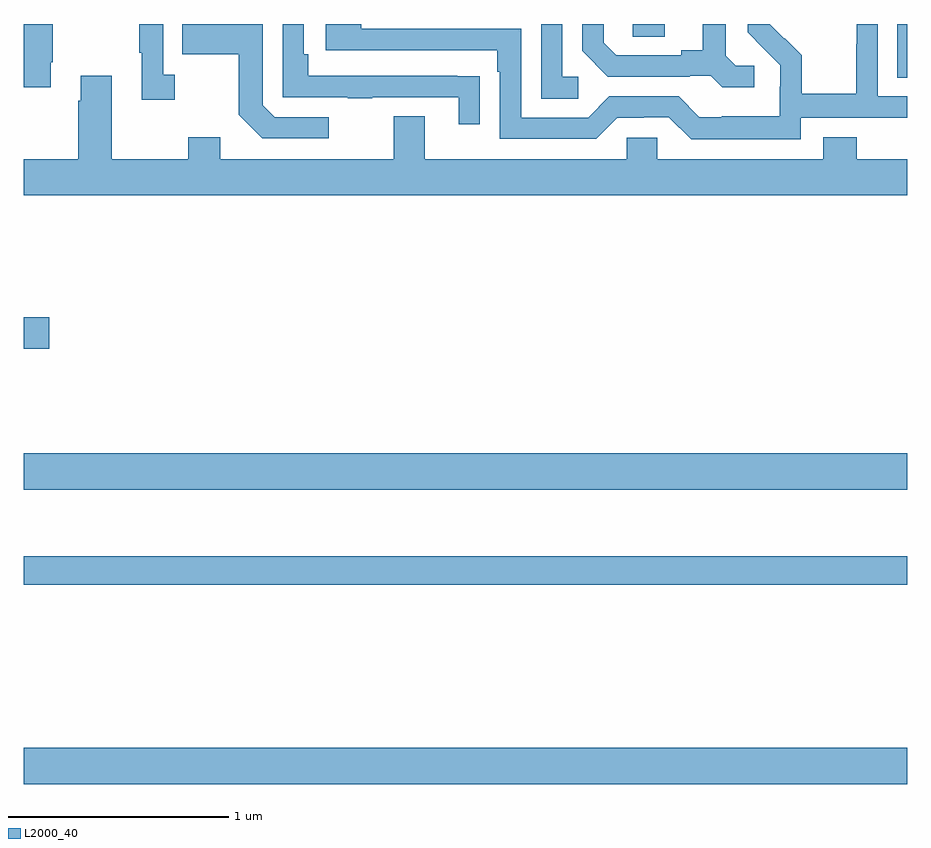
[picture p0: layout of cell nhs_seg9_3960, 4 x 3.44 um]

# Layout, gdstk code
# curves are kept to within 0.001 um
import gdstk
lib = gdstk.Library(unit=1e-6, precision=1e-09)
def R(c, l, rs):  # rectangles x0, y0, x1, y1
    for r in rs: c.add(gdstk.rectangle(r[:2], r[2:], *l))
def P(c, l, *ps):  # polygons
    for p in ps: c.add(gdstk.Polygon(p, *l))
L2000_40 = (2000, 40)

nhs_seg9_3960 = lib.new_cell('nhs_seg9_3960')
R(nhs_seg9_3960, L2000_40, [(337,1223.06,341,1223.224), (337,1223.962,341,1224.091), (337,1224.392,341,1224.556), (337,1225.03,337.117,1225.172), (340.955,1226.257,341,1226.5), (339.756,1226.443,339.901,1226.5)])
P(nhs_seg9_3960, L2000_40, [(337.684,1226.27),(337.632,1226.27),(337.632,1226.5),(337.524,1226.5),(337.524,1226.369),(337.535,1226.369),(337.535,1226.157),(337.684,1226.157)],
  [(337.123,1226.326),(337.131,1226.326),(337.131,1226.5),(337,1226.5),(337,1226.214),(337.123,1226.214)],
  [(340.518,1226.076),(341,1226.076),(341,1226.172),(340.866,1226.172),(340.866,1226.5),(340.77,1226.5),(340.77,1226.408),(340.768,1226.408),(340.768,1226.185),(340.523,1226.185),(340.523,1226.359),(340.446,1226.436),(340.443,1226.433),(340.377,1226.5),(340.278,1226.5),(340.278,1226.462),(340.424,1226.314),(340.424,1226.217),(340.422,1226.217),(340.422,1226.083),(340.159,1226.083),(340.159,1226.079),(340.059,1226.079),(339.966,1226.172),(339.651,1226.172),(339.555,1226.076),(339.252,1226.076),(339.252,1226.478),(338.528,1226.478),(338.528,1226.5),(338.367,1226.5),(338.367,1226.382),(339.143,1226.382),(339.143,1226.285),(339.156,1226.285),(339.156,1225.98),(339.591,1225.98),(339.687,1226.076),(339.806,1226.076),(339.806,1226.079),(339.921,1226.079),(340.021,1225.979),(340.518,1225.979)],
  [(339.065,1226.264),(338.963,1226.264),(338.963,1226.265),(338.288,1226.265),(338.288,1226.362),(338.268,1226.362),(338.268,1226.5),(338.172,1226.5),(338.172,1226.169),(338.467,1226.169),(338.467,1226.164),(338.579,1226.164),(338.579,1226.169),(338.969,1226.169),(338.969,1226.046),(339.065,1226.046)],
  [(339.511,1226.262),(339.438,1226.262),(339.438,1226.5),(339.342,1226.5),(339.342,1226.161),(339.511,1226.161)],
  [(340.306,1226.31),(340.224,1226.31),(340.177,1226.357),(340.177,1226.5),(340.073,1226.5),(340.073,1226.381),(339.977,1226.381),(339.977,1226.358),(339.682,1226.358),(339.625,1226.415),(339.625,1226.5),(339.528,1226.5),(339.528,1226.378),(339.644,1226.262),(340.016,1226.262),(340.016,1226.265),(340.11,1226.265),(340.162,1226.213),(340.306,1226.213)],
  [(338.38,1226.079),(338.136,1226.079),(338.082,1226.133),(338.082,1226.5),(337.717,1226.5),(337.717,1226.362),(337.974,1226.362),(337.974,1226.089),(338.079,1225.983),(338.38,1225.983)],
  [(341,1225.888),(340.772,1225.888),(340.772,1225.987),(340.619,1225.987),(340.619,1225.888),(339.867,1225.888),(339.867,1225.986),(339.729,1225.986),(339.729,1225.888),(338.815,1225.888),(338.815,1226.083),(338.675,1226.083),(338.675,1225.888),(337.891,1225.888),(337.891,1225.987),(337.744,1225.987),(337.744,1225.888),(337.399,1225.888),(337.399,1226.266),(337.259,1226.266),(337.259,1226.153),(337.247,1226.153),(337.247,1225.888),(337,1225.888),(337,1225.724),(341,1225.724)])

lib.write_gds('nhs_seg9_3960.gds')
